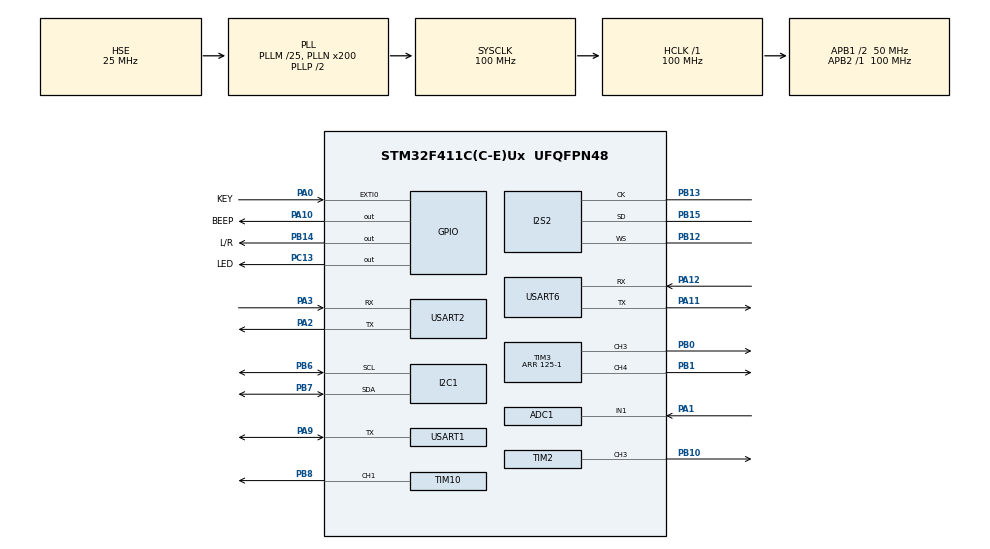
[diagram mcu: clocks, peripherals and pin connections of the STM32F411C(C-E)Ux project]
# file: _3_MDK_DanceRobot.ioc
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ADC1.Channel-0\#ChannelRegularConversion=ADC_CHANNEL_1
ADC1.InjNumberOfConversion=0
ADC1.NbrOfConversion=1
ADC1.NbrOfConversionFlag=1
ADC1.Rank-0\#ChannelRegularConversion=1
ADC1.SamplingTime-0\#ChannelRegularConversion=ADC_SAMPLETIME_56CYCLES
ADC1.master=1
Dma.Request0=USART1_TX
Dma.Request1=USART1_RX
Dma.Request2=USART6_RX
Dma.Request3=USART2_RX
Dma.Request4=SPI2_RX
Dma.Request5=TIM3_CH3
Dma.Request6=TIM2_CH3/UP
Dma.Request7=TIM3_CH4/UP
Dma.Request8=USART6_TX
Dma.SPI2_RX.4.Direction=DMA_PERIPH_TO_MEMORY
Dma.SPI2_RX.4.FIFOMode=DMA_FIFOMODE_DISABLE
Dma.SPI2_RX.4.Instance=DMA1_Stream3
Dma.SPI2_RX.4.MemDataAlignment=DMA_MDATAALIGN_HALFWORD
Dma.SPI2_RX.4.MemInc=DMA_MINC_ENABLE
Dma.SPI2_RX.4.Mode=DMA_CIRCULAR
Dma.SPI2_RX.4.PeriphDataAlignment=DMA_PDATAALIGN_HALFWORD
Dma.SPI2_RX.4.PeriphInc=DMA_PINC_DISABLE
Dma.SPI2_RX.4.Priority=DMA_PRIORITY_LOW
Dma.TIM2_CH3/UP.6.Direction=DMA_MEMORY_TO_PERIPH
Dma.TIM2_CH3/UP.6.FIFOMode=DMA_FIFOMODE_DISABLE
Dma.TIM2_CH3/UP.6.Instance=DMA1_Stream1
Dma.TIM2_CH3/UP.6.MemDataAlignment=DMA_MDATAALIGN_WORD
Dma.TIM2_CH3/UP.6.MemInc=DMA_MINC_ENABLE
Dma.TIM2_CH3/UP.6.Mode=DMA_CIRCULAR
Dma.TIM2_CH3/UP.6.PeriphDataAlignment=DMA_PDATAALIGN_WORD
Dma.TIM2_CH3/UP.6.PeriphInc=DMA_PINC_DISABLE
Dma.TIM2_CH3/UP.6.Priority=DMA_PRIORITY_HIGH
Dma.TIM3_CH3.5.Direction=DMA_MEMORY_TO_PERIPH
Dma.TIM3_CH3.5.FIFOMode=DMA_FIFOMODE_DISABLE
Dma.TIM3_CH3.5.Instance=DMA1_Stream7
Dma.TIM3_CH3.5.MemDataAlignment=DMA_MDATAALIGN_HALFWORD
Dma.TIM3_CH3.5.MemInc=DMA_MINC_ENABLE
Dma.TIM3_CH3.5.Mode=DMA_CIRCULAR
Dma.TIM3_CH3.5.PeriphDataAlignment=DMA_PDATAALIGN_HALFWORD
Dma.TIM3_CH3.5.PeriphInc=DMA_PINC_DISABLE
Dma.TIM3_CH3.5.Priority=DMA_PRIORITY_HIGH
Dma.TIM3_CH4/UP.7.Direction=DMA_MEMORY_TO_PERIPH
Dma.TIM3_CH4/UP.7.FIFOMode=DMA_FIFOMODE_DISABLE
Dma.TIM3_CH4/UP.7.Instance=DMA1_Stream2
Dma.TIM3_CH4/UP.7.MemDataAlignment=DMA_MDATAALIGN_HALFWORD
Dma.TIM3_CH4/UP.7.MemInc=DMA_MINC_ENABLE
Dma.TIM3_CH4/UP.7.Mode=DMA_CIRCULAR
Dma.TIM3_CH4/UP.7.PeriphDataAlignment=DMA_PDATAALIGN_HALFWORD
Dma.TIM3_CH4/UP.7.PeriphInc=DMA_PINC_DISABLE
Dma.TIM3_CH4/UP.7.Priority=DMA_PRIORITY_HIGH
Dma.USART1_RX.1.Direction=DMA_PERIPH_TO_MEMORY
Dma.USART1_RX.1.FIFOMode=DMA_FIFOMODE_DISABLE
Dma.USART1_RX.1.Instance=DMA2_Stream2
Dma.USART1_RX.1.MemDataAlignment=DMA_MDATAALIGN_BYTE
Dma.USART1_RX.1.MemInc=DMA_MINC_ENABLE
Dma.USART1_RX.1.Mode=DMA_NORMAL
Dma.USART1_RX.1.PeriphDataAlignment=DMA_PDATAALIGN_BYTE
Dma.USART1_RX.1.PeriphInc=DMA_PINC_DISABLE
Dma.USART1_RX.1.Priority=DMA_PRIORITY_LOW
Dma.USART1_TX.0.Direction=DMA_MEMORY_TO_PERIPH
Dma.USART1_TX.0.FIFOMode=DMA_FIFOMODE_DISABLE
Dma.USART1_TX.0.Instance=DMA2_Stream7
Dma.USART1_TX.0.MemDataAlignment=DMA_MDATAALIGN_BYTE
Dma.USART1_TX.0.MemInc=DMA_MINC_ENABLE
Dma.USART1_TX.0.Mode=DMA_NORMAL
Dma.USART1_TX.0.PeriphDataAlignment=DMA_PDATAALIGN_BYTE
Dma.USART1_TX.0.PeriphInc=DMA_PINC_DISABLE
Dma.USART1_TX.0.Priority=DMA_PRIORITY_LOW
Dma.USART2_RX.3.Direction=DMA_PERIPH_TO_MEMORY
Dma.USART2_RX.3.FIFOMode=DMA_FIFOMODE_DISABLE
Dma.USART2_RX.3.Instance=DMA1_Stream5
Dma.USART2_RX.3.MemDataAlignment=DMA_MDATAALIGN_BYTE
Dma.USART2_RX.3.MemInc=DMA_MINC_ENABLE
Dma.USART2_RX.3.Mode=DMA_CIRCULAR
Dma.USART2_RX.3.PeriphDataAlignment=DMA_PDATAALIGN_BYTE
Dma.USART2_RX.3.PeriphInc=DMA_PINC_DISABLE
Dma.USART2_RX.3.Priority=DMA_PRIORITY_LOW
Dma.USART6_RX.2.Direction=DMA_PERIPH_TO_MEMORY
Dma.USART6_RX.2.FIFOMode=DMA_FIFOMODE_DISABLE
Dma.USART6_RX.2.Instance=DMA2_Stream1
Dma.USART6_RX.2.MemDataAlignment=DMA_MDATAALIGN_BYTE
Dma.USART6_RX.2.MemInc=DMA_MINC_ENABLE
Dma.USART6_RX.2.Mode=DMA_NORMAL
Dma.USART6_RX.2.PeriphDataAlignment=DMA_PDATAALIGN_BYTE
Dma.USART6_RX.2.PeriphInc=DMA_PINC_DISABLE
Dma.USART6_RX.2.Priority=DMA_PRIORITY_LOW
Dma.USART6_TX.8.Direction=DMA_MEMORY_TO_PERIPH
Dma.USART6_TX.8.FIFOMode=DMA_FIFOMODE_DISABLE
Dma.USART6_TX.8.Instance=DMA2_Stream6
Dma.USART6_TX.8.MemDataAlignment=DMA_MDATAALIGN_BYTE
Dma.USART6_TX.8.MemInc=DMA_MINC_ENABLE
Dma.USART6_TX.8.Mode=DMA_NORMAL
Dma.USART6_TX.8.PeriphDataAlignment=DMA_PDATAALIGN_BYTE
Dma.USART6_TX.8.PeriphInc=DMA_PINC_DISABLE
Dma.USART6_TX.8.Priority=DMA_PRIORITY_LOW
I2C1.I2C_Mode=I2C_Standard
I2S2.AudioFreq=I2S_AUDIOFREQ_16K
I2S2.DataFormat=I2S_DATAFORMAT_24B
I2S2.ErrorAudioFreq=0.33 %
I2S2.FullDuplexMode=I2S_FULLDUPLEXMODE_DISABLE
I2S2.Instance=SPI$Index
I2S2.Mode=I2S_MODE_MASTER_RX
I2S2.RealAudioFreq=16.053 KHz
I2S2.VirtualMode=I2S_MODE_MASTER
IWDG.Prescaler=IWDG_PRESCALER_16
Mcu.Family=STM32F4
Mcu.Name=STM32F411C(C-E)Ux
Mcu.Package=UFQFPN48
NVIC.ADC_IRQn=true\:0\:0\:false\:false\:true\:true\:true\:true
NVIC.DMA1_Stream1_IRQn=true\:0\:0\:false\:false\:true\:false\:true\:true
NVIC.DMA1_Stream2_IRQn=true\:0\:0\:false\:false\:true\:false\:true\:true
NVIC.DMA1_Stream3_IRQn=true\:0\:0\:false\:false\:true\:false\:true\:true
NVIC.DMA1_Stream5_IRQn=true\:0\:0\:false\:false\:true\:false\:true\:true
NVIC.DMA1_Stream7_IRQn=true\:0\:0\:false\:false\:true\:false\:true\:true
NVIC.DMA2_Stream1_IRQn=true\:0\:0\:false\:false\:true\:false\:true\:true
NVIC.DMA2_Stream2_IRQn=true\:0\:0\:false\:false\:true\:false\:true\:true
NVIC.DMA2_Stream6_IRQn=true\:0\:0\:false\:false\:true\:false\:true\:true
NVIC.DMA2_Stream7_IRQn=true\:0\:0\:false\:false\:true\:false\:true\:true
NVIC.EXTI0_IRQn=true\:0\:0\:false\:false\:true\:true\:true\:true
NVIC.I2C1_ER_IRQn=true\:0\:0\:false\:false\:true\:true\:true\:true
NVIC.I2C1_EV_IRQn=true\:0\:0\:false\:false\:true\:true\:true\:true
NVIC.PriorityGroup=NVIC_PRIORITYGROUP_4
NVIC.SPI2_IRQn=true\:0\:0\:false\:false\:true\:true\:true\:true
NVIC.TIM1_TRG_COM_TIM11_IRQn=true\:0\:0\:false\:false\:true\:true\:true\:true
NVIC.TIM1_UP_TIM10_IRQn=true\:0\:0\:false\:false\:true\:true\:true\:true
NVIC.TIM2_IRQn=true\:0\:0\:false\:false\:true\:true\:true\:true
NVIC.TIM3_IRQn=true\:0\:0\:false\:false\:true\:true\:true\:true
NVIC.TIM4_IRQn=true\:0\:0\:false\:false\:true\:true\:true\:true
NVIC.TIM5_IRQn=true\:0\:0\:false\:false\:true\:true\:true\:true
NVIC.USART1_IRQn=true\:0\:0\:false\:false\:true\:true\:true\:true
NVIC.USART2_IRQn=true\:0\:0\:false\:false\:true\:true\:true\:true
NVIC.USART6_IRQn=true\:0\:0\:false\:false\:true\:true\:true\:true
PA0-WKUP.GPIO_Label=KEY
PA0-WKUP.GPIO_ModeDefaultEXTI=GPIO_MODE_IT_FALLING
PA0-WKUP.GPIO_PuPd=GPIO_PULLUP
PA0-WKUP.Signal=GPXTI0
PA1.Signal=ADCx_IN1
PA10.GPIO_Label=BEEP
PA10.Signal=GPIO_Output
PA11.Mode=Asynchronous
PA11.Signal=USART6_TX
PA12.Mode=Asynchronous
PA12.Signal=USART6_RX
PA13.Mode=Serial_Wire
PA13.Signal=SYS_JTMS-SWDIO
PA14.Mode=Serial_Wire
PA14.Signal=SYS_JTCK-SWCLK
PA2.Mode=Asynchronous
PA2.Signal=USART2_TX
PA3.Mode=Asynchronous
PA3.Signal=USART2_RX
PA9.GPIO_PuPd=GPIO_PULLUP
PA9.Mode=Half_duplex(single_wire_mode)
PA9.Signal=USART1_TX
PB0.GPIO_PuPd=GPIO_NOPULL
PB0.GPIO_Speed=GPIO_SPEED_FREQ_VERY_HIGH
PB0.Signal=S_TIM3_CH3
PB1.GPIO_Speed=GPIO_SPEED_FREQ_VERY_HIGH
PB1.Signal=S_TIM3_CH4
PB10.GPIO_Speed=GPIO_SPEED_FREQ_VERY_HIGH
PB10.Signal=S_TIM2_CH3
PB12.Mode=Half_Duplex_Master
PB12.Signal=I2S2_WS
PB13.Mode=Half_Duplex_Master
PB13.Signal=I2S2_CK
PB14.GPIO_Label=L/R
PB14.Signal=GPIO_Output
PB15.Mode=Half_Duplex_Master
PB15.Signal=I2S2_SD
PB6.GPIO_Pu=GPIO_PULLUP
PB6.Mode=I2C
PB6.Signal=I2C1_SCL
PB7.GPIO_Pu=GPIO_PULLUP
PB7.Mode=I2C
PB7.Signal=I2C1_SDA
PB8.GPIO_Speed=GPIO_SPEED_FREQ_VERY_HIGH
PB8.Signal=S_TIM10_CH1
PC13-ANTI_TAMP.GPIO_Label=LED
PC13-ANTI_TAMP.Signal=GPIO_Output
PH0\ -\ OSC_IN.Mode=HSE-External-Oscillator
PH0\ -\ OSC_IN.Signal=RCC_OSC_IN
PH1\ -\ OSC_OUT.Mode=HSE-External-Oscillator
PH1\ -\ OSC_OUT.Signal=RCC_OSC_OUT
ProjectManager.HeapSize=0x200
ProjectManager.StackSize=0x400
ProjectManager.TargetToolchain=MDK-ARM V5
RCC.48MHZClocksFreq_Value=50000000
RCC.AHBFreq_Value=100000000
RCC.APB1CLKDivider=RCC_HCLK_DIV2
RCC.APB1Freq_Value=50000000
RCC.APB1TimFreq_Value=100000000
RCC.APB2Freq_Value=100000000
RCC.APB2TimFreq_Value=100000000
RCC.CortexFreq_Value=100000000
RCC.HCLKFreq_Value=100000000
RCC.HSE_VALUE=25000000
RCC.HSI_VALUE=16000000
RCC.LSE_VALUE=32768
RCC.PLLM=25
RCC.PLLN=200
RCC.PLLSourceVirtual=RCC_PLLSOURCE_HSE
RCC.SYSCLKFreq_VALUE=100000000
RCC.SYSCLKSource=RCC_SYSCLKSOURCE_PLLCLK
RCC.VCOOutputFreq_Value=200000000
SH.ADCx_IN1.0=ADC1_IN1,IN1
SH.S_TIM10_CH1.0=TIM10_CH1,PWM Generation1 CH1
SH.S_TIM2_CH3.0=TIM2_CH3,PWM Generation3 CH3
SH.S_TIM3_CH3.0=TIM3_CH3,PWM Generation3 CH3
SH.S_TIM3_CH4.0=TIM3_CH4,PWM Generation4 CH4
TIM10.Channel=TIM_CHANNEL_1
TIM10.Period=20000-1
TIM10.Prescaler=100-1
TIM11.Period=150-1
TIM11.Prescaler=10000-1
TIM2.Channel-PWM\ Generation3\ CH3=TIM_CHANNEL_3
TIM2.Period=125-1
TIM3.Channel-PWM\ Generation3\ CH3=TIM_CHANNEL_3
TIM3.Channel-PWM\ Generation4\ CH4=TIM_CHANNEL_4
TIM3.Period=125-1
TIM4.Period=1000-1
TIM4.Prescaler=10000-1
TIM5.Period=100-1
TIM5.Prescaler=10000-1
USART1.VirtualMode=VM_ASYNC
USART2.VirtualMode=VM_ASYNC
USART6.VirtualMode=VM_ASYNC
VP_IWDG_VS_IWDG.Mode=IWDG_Activate
VP_TIM10_VS_ClockSourceINT.Mode=Enable_Timer
VP_TIM11_VS_ClockSourceINT.Mode=Enable_Timer
VP_TIM2_VS_ClockSourceINT.Mode=Internal
VP_TIM3_VS_ClockSourceINT.Mode=Internal
VP_TIM4_VS_ClockSourceINT.Mode=Internal
VP_TIM5_VS_ClockSourceINT.Mode=Internal
board=custom

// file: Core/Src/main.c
/* USER CODE BEGIN Header */
/**
  ******************************************************************************
  * @file           : main.c
  * @brief          : Main program body
  ******************************************************************************
  * @attention
  *
  * Copyright (c) 2026 STMicroelectronics.
  * All rights reserved.
  *
  * This software is licensed under terms that can be found in the LICENSE file
  * in the root directory of this software component.
  * If no LICENSE file comes with this software, it is provided AS-IS.
  *
  ******************************************************************************
  */
/* USER CODE END Header */
#include "main.h"
#include "adc.h"
#include "dma.h"
#include "i2c.h"
#include "i2s.h"
#include "iwdg.h"
#include "tim.h"
#include "usart.h"
#include "gpio.h"

/* USER CODE BEGIN PV */

volatile Mode g_mode = DEBUG;    //动作模式枚举变量，初始为调试模式

volatile Flag flag = {0};    //动作执行状态标志变量，初始为未执行状态

volatile uint32_t tick = 0;    //时间截，单位毫秒

//volatile float pitch = 0.0f, roll = 0.0f, yaw = 0.0f;    //欧拉角，单位度

volatile uint8_t uart1_rx_buf[UART1_RX_SIZE];   // USART1 接收缓冲区，64 字节
volatile uint8_t uart6_rx_buf[UART6_RX_SIZE];   // USART6 接收缓冲区，100 字节
static volatile uint8_t uart6_rx_recover = 0U;   // USART6 接收DMA恢复标志
static volatile uint32_t uart6_last_error = 0U;  // USART6 最近一次HAL错误码

uint8_t pos_read_id=1;    //位置读取 ID，初始为 1，范围 1-19

volatile float voltage_sum = 0.0f;    //电池电压采样累加值
volatile uint8_t voltage_count = 0;    //电池电压采样计
volatile float battery_voltage = 0.0f;    //电池电压，单位伏特

IMU_Data_t *imu;

/* USER CODE END PV */

void SystemClock_Config(void);

int main(void)
{

  /* MCU Configuration--------------------------------------------------------*/

  /* Reset of all peripherals, Initializes the Flash interface and the Systick. */
  HAL_Init();

  /* USER CODE BEGIN Init */
	__HAL_RCC_GPIOC_CLK_ENABLE();

  /* USER CODE END Init */

  /* Configure the system clock */
  SystemClock_Config();

  /* Initialize all configured peripherals */
  MX_GPIO_Init();
  MX_DMA_Init();
//  MX_IWDG_Init();
  MX_USART1_UART_Init();
  MX_TIM10_Init();
  MX_TIM11_Init();
  MX_USART6_UART_Init();
  MX_TIM4_Init();
  MX_TIM5_Init();
  MX_USART2_UART_Init();
  MX_ADC1_Init();
  MX_I2S2_Init();
  MX_I2C1_Init();
  MX_TIM3_Init();
  MX_TIM2_Init();
  /* USER CODE BEGIN 2 */

  HAL_TIM_Base_Start_IT(&htim10);     //启动 TIM10
  HAL_TIM_Base_Start_IT(&htim11);     //启动 TIM11
  HAL_TIM_Base_Start_IT(&htim4);      //启动 TIM4
  HAL_TIM_Base_Start_IT(&htim5);      //启动 TIM5

  SEGGER_RTT_Init ();   //J-Link RTT 初始化

HAL_UARTEx_ReceiveToIdle_DMA(&huart1,(uint8_t*) uart1_rx_buf, sizeof(uart1_rx_buf));   //开启 USART1 的 DMA 接收，接收数据存入 uart1_rx_buf
HAL_UARTEx_ReceiveToIdle_DMA(&huart6, (uint8_t*)uart6_rx_buf, sizeof(uart6_rx_buf));   //开启 USART6 的 DMA 接收，接收数据存入 uart6_rx_buf

uint8_t imu_init_count=0;
while(imu_init_count<3)//IMU上电比STM32慢，等待3秒后初始化IMU
{
  HAL_Delay(1000);
  imu_init_count++;
  HAL_IWDG_Refresh(&hiwdg);
}
IMU_Init(&huart2);    //启动IMU模块DMA接收
flag.imu_speed_displacement_active=1;    //IMU速度与位移计算任务激活标志

WS2812_Init();    //启动WS2812B灯带驱动
flag.ws2812_change=1;

//OpticalFlow_Init();    //初始化光流传感器

Servo_pwm_Init(90.0f);    //初始化舵机PWM

HAL_GPIO_WritePin(GPIOC, GPIO_PIN_13, GPIO_PIN_RESET);//LED 点亮

  printf("Hello World!\n");

  /* USER CODE END 2 */

  /* Infinite loop */
  while (1)
  {

    /* USER CODE BEGIN 3 */

    if(battery_voltage < 6.25f)   //电池电压低于6.7V，提示用户更换电池
    {
//      (g_mode==DEBUG) && SEGGER_RTT_printf(0,"[Warning] Battery voltage is low: %.2fV, please replace the battery!\n", battery_voltage);
//      (g_mode==DEBUG) && printf("[Warning] Battery voltage is low: %.2fV, please replace the battery!\n", battery_voltage);
//      HAL_GPIO_WritePin(BEEP_GPIO_Port, BEEP_Pin, GPIO_PIN_SET);   //蜂鸣器响
    }
    else if(battery_voltage >= 6.35f)   //电池电压恢复正常，蜂鸣器不响,迟滞区间0.1V，避免频繁响起
    {
      HAL_GPIO_WritePin(BEEP_GPIO_Port, BEEP_Pin, GPIO_PIN_RESET);   //蜂鸣器不响
    }

    if(uart6_rx_recover == 1U)//USART6接收错误后恢复DMA
    {
      if(huart6.RxState == HAL_UART_STATE_READY)
      {
        flag.uart6_rx_ready = 0;    //丢弃错误或不完整的数据帧
        memset((char*)uart6_rx_buf, 0, UART6_RX_SIZE);

        if(HAL_UARTEx_ReceiveToIdle_DMA(&huart6, (uint8_t*)uart6_rx_buf, sizeof(uart6_rx_buf)) == HAL_OK)
        {
          uart6_rx_recover = 0U;    //DMA重新开启成功
        }
      }
    }

    if(flag.uart6_rx_ready == 1)//来自上位机的指令
    {
      Single_Action((char*)uart6_rx_buf);   //调用动作函数
      (g_mode==DEBUG) && printf("uart6_rx_buf: %s\n", uart6_rx_buf);
      memset((char*)uart6_rx_buf, 0, UART6_RX_SIZE);   //清空传入的动作名称字符串，避免重复执行同一动作
      flag.uart6_rx_ready = 0;    //动作执行完成后，将标志位设为未执行状态
      if(HAL_UARTEx_ReceiveToIdle_DMA(&huart6, (uint8_t*)uart6_rx_buf, sizeof(uart6_rx_buf)) != HAL_OK)
      {
        uart6_rx_recover = 1U;    //DMA重新开启失败，等待主循环恢复
      }
    }

    if(flag.uart1_rx_ready == 1)//来自舵机的指令
    {
      (g_mode==DEBUG) && printf("%s",uart1_rx_buf);
//      (g_mode==DEBUG) && printf("uart1_rx_buf: %s\n", uart1_rx_buf);
      memset((char*)uart1_rx_buf, 0, UART1_RX_SIZE);   //清空传入的动作名称字符串，避免重复执行同一动作
      flag.uart1_rx_ready = 0;    //动作执行完成后，将标志位设为未执行状态
      // 半双工：确保在接收模式，重新开启 DMA 接收
      HAL_HalfDuplex_EnableReceiver(&huart1);
      HAL_UARTEx_ReceiveToIdle_DMA(&huart1, (uint8_t*)uart1_rx_buf, sizeof(uart1_rx_buf));  //重新开启DMA接收
    }

//    OpticalFlow_Data_t* flow_data = OpticalFlow_ProcessData(&flag.flow_data_update);
//    float x=flow_data->distance_x;
//    float y=flow_data->distance_y;printf("x=%f,y=%f\n",x,y);

    Leg_Action_Process();    //腿部动作处理函数

    Task_Process();    //任务处理函数

    imu = IMU_GetData();    //获取当前IMU数据
    /*static uint32_t last_tick =0;
    if(HAL_GetTick()-last_tick >= 5)
    {
    printf("IMU yaw=%.2f\n",imu->yaw);
    printf("now tick=%d\n",HAL_GetTick());
  last_tick=HAL_GetTick();
  }*/

    Location_deal_GetIMUData(imu);    //获取当前IMU数据

    BeatData* data_current = Get_BeatData();    //获取当前节拍数据指针
    Update_BeatIndex(data_current);    //更新当前节拍索引
    Flower_Beat_Process();             //更新花瓣节拍动作

    Arm_Action_Process();    //机械臂动作处理函数

		tick = HAL_GetTick();

//(g_mode==DEBUG) && SEGGER_RTT_printf(0,"Tick:%d\n",HAL_GetTick());
    HAL_IWDG_Refresh(&hiwdg);   // 喂独立看门狗，防止复位,2048ms

  }
  /* USER CODE END 3 */
}

void SystemClock_Config(void)
{
  RCC_OscInitTypeDef RCC_OscInitStruct = {0};
  RCC_ClkInitTypeDef RCC_ClkInitStruct = {0};

  /** Configure the main internal regulator output voltage
  */
  __HAL_RCC_PWR_CLK_ENABLE();
  __HAL_PWR_VOLTAGESCALING_CONFIG(PWR_REGULATOR_VOLTAGE_SCALE1);

  /** Initializes the RCC Oscillators according to the specified parameters
  * in the RCC_OscInitTypeDef structure.
  */
  RCC_OscInitStruct.OscillatorType = RCC_OSCILLATORTYPE_LSI|RCC_OSCILLATORTYPE_HSE;
  RCC_OscInitStruct.HSEState = RCC_HSE_ON;
  RCC_OscInitStruct.LSIState = RCC_LSI_ON;
  RCC_OscInitStruct.PLL.PLLState = RCC_PLL_ON;
  RCC_OscInitStruct.PLL.PLLSource = RCC_PLLSOURCE_HSE;
  RCC_OscInitStruct.PLL.PLLM = 25;
  RCC_OscInitStruct.PLL.PLLN = 200;
  RCC_OscInitStruct.PLL.PLLP = RCC_PLLP_DIV2;
  RCC_OscInitStruct.PLL.PLLQ = 4;
  if (HAL_RCC_OscConfig(&RCC_OscInitStruct) != HAL_OK)
  {
    Error_Handler();
  }

  /** Initializes the CPU, AHB and APB buses clocks
  */
  RCC_ClkInitStruct.ClockType = RCC_CLOCKTYPE_HCLK|RCC_CLOCKTYPE_SYSCLK
                              |RCC_CLOCKTYPE_PCLK1|RCC_CLOCKTYPE_PCLK2;
  RCC_ClkInitStruct.SYSCLKSource = RCC_SYSCLKSOURCE_PLLCLK;
  RCC_ClkInitStruct.AHBCLKDivider = RCC_SYSCLK_DIV1;
  RCC_ClkInitStruct.APB1CLKDivider = RCC_HCLK_DIV2;
  RCC_ClkInitStruct.APB2CLKDivider = RCC_HCLK_DIV1;

  if (HAL_RCC_ClockConfig(&RCC_ClkInitStruct, FLASH_LATENCY_3) != HAL_OK)
  {
    Error_Handler();
  }
}

/* USER CODE BEGIN 4 */

/**
  * @brief  外部中断回调函数
  * @param  GPIO_Pin: 指示哪个引脚触发了中断
  * @retval 无
*/
void HAL_GPIO_EXTI_Callback(uint16_t GPIO_Pin)
{
  if (GPIO_Pin == GPIO_PIN_0) // 检测到按键按下
  {
  flag.key_event = 1; // 设置按键事件标志
  }
}

/**
  * @brief  UART接收事件回调函数
  * @param  huart: UART句柄
  * @param  Size: 接收到的数据大小
  * @retval 无
*/
void HAL_UARTEx_RxEventCallback(UART_HandleTypeDef *huart,uint16_t Size)
{
    if (huart->Instance == USART1)
    {
			if (huart->RxEventType == HAL_UART_RXEVENT_HT) return;  // 忽略半满事件,等 IDLE
        flag.uart1_rx_ready=1;    //DMA发送标志位为1，表示数据已接收完毕
    }
    if (huart->Instance == USART6)
    {
			if (huart->RxEventType == HAL_UART_RXEVENT_HT) return;  // 忽略半满事件,等 IDLE
      flag.uart6_rx_ready=1;    //DMA发送标志位为1，表示数据已接收完毕
    }
    if (huart->Instance == USART2)
    {
        IMU_RxEventCallback(Size);// 调用IMU模块的空闲中断回调函数，解析接收到的数据
    }
  }

  /**
  * @brief  字符输出函数
  * @param  c: 要输出的字符
  * @param  f: 文件指针
  * @retval 输出的字符
  */
  int fputc(int c, FILE *f)
  {
    uint8_t ch = (uint8_t)c;

    if (Printf_TxFifoWrite(ch) == 1U)
    {
      Printf_TxStartNext();
    }

    return c;
  }

  /**
  * @brief  UART发送完成回调函数
  * @param  huart: UART句柄
  * @retval 无
  */
void HAL_UART_TxCpltCallback(UART_HandleTypeDef *huart)
{
    if (huart->Instance == USART1)
    {
        // 半双工：DMA 发送完成
        uint8_t tx_len;
        if (Fifo_Read(&fifo, fifo_packet, &tx_len)==1)
        {
            // FIFO 还有数据，继续发送（使用实际包长度）
            HAL_UART_Transmit_DMA(&huart1, fifo_packet, tx_len);
        }
        else
        {
            // FIFO 空了，切换到接收模式，等待舵机回传
            HAL_HalfDuplex_EnableReceiver(&huart1);
            HAL_UARTEx_ReceiveToIdle_DMA(&huart1, (uint8_t*)uart1_rx_buf, sizeof(uart1_rx_buf));
        }
    }
    else if (huart->Instance == USART6)
    {
        Printf_TxComplete();
        Printf_TxStartNext();
    }
}

/**
  * @brief  UART错误回调函数
  * @param  huart: UART句柄
  * @retval 无
  */
void HAL_UART_ErrorCallback(UART_HandleTypeDef *huart)
{
    if (huart->Instance == USART6)
    {
        uart6_last_error = HAL_UART_GetError(huart);    //保存错误码，便于调试
        uart6_rx_recover = 1U;    //请求主循环恢复USART6接收DMA
        Printf_TxAbortCurrent();
        Printf_TxStartNext();
    }
}

/**
  * @brief  定时器中断回调函数
  * @param  htim: TIM句柄
  * @retval 无
  */
void HAL_TIM_PeriodElapsedCallback(TIM_HandleTypeDef *htim) {
  if (htim->Instance == TIM10) // 20ms 中断一次
  {
    Update_Servo_pwm_Angle();//更新舵机角度
  }

  if (htim->Instance == TIM11) // 15ms 中断一次
  {
    if(flag.zero_yaw == 1)//如果软件归零标志为已归零
    {
        Location_deal_CalcYawError(imu);//计算当前yaw角度的偏差
    }
  }

  if (htim->Instance == TIM4) // 100ms 中断一次
  {
    HAL_ADC_Start(&hadc1); // 启动 ADC 转换
    if (HAL_ADC_PollForConversion(&hadc1, 10) == HAL_OK) {
      uint32_t adc_value = HAL_ADC_GetValue(&hadc1);
      float voltage = (adc_value / 4009.09f) * 3.3f / VOLTAGE_DIVIDER_RATIO; // 电压分压系数为10K/(10K+16K)=0.384615,电池电压6.4-8.4V
      voltage_sum = voltage_sum + voltage;
      voltage_count++;

      if (voltage_count == 10) { // 每 10 次采样计算一次平均值
        battery_voltage = voltage_sum / voltage_count;
        voltage_sum = 0.0f;
        voltage_count = 0;
      }
    }
    HAL_ADC_Stop(&hadc1); // 停止 ADC 转换
  }

  if (htim->Instance == TIM5) // 10ms 中断一次
  {
  }
}

/* USER CODE END 4 */

void Error_Handler(void)
{
  __disable_irq();
  while (1)
  {
  }
}
#ifdef USE_FULL_ASSERT
/**
  * @brief  Reports the name of the source file and the source line number
  *         where the assert_param error has occurred.
  * @param  file: pointer to the source file name
  * @param  line: assert_param error line source number
  * @retval None
  */
void assert_failed(uint8_t *file, uint32_t line)
{
  /* USER CODE BEGIN 6 */
  /* User can add his own implementation to report the file name and line number,
     ex: printf("Wrong parameters value: file %s on line %d\r\n", file, line) */
     SEGGER_RTT_printf(0, "\n[ASSERT FAILED] File: %s, Line: %d\n", file, line);
     //打印断言失败的文件名和行号
  /* USER CODE END 6 */
}
#endif /* USE_FULL_ASSERT */
